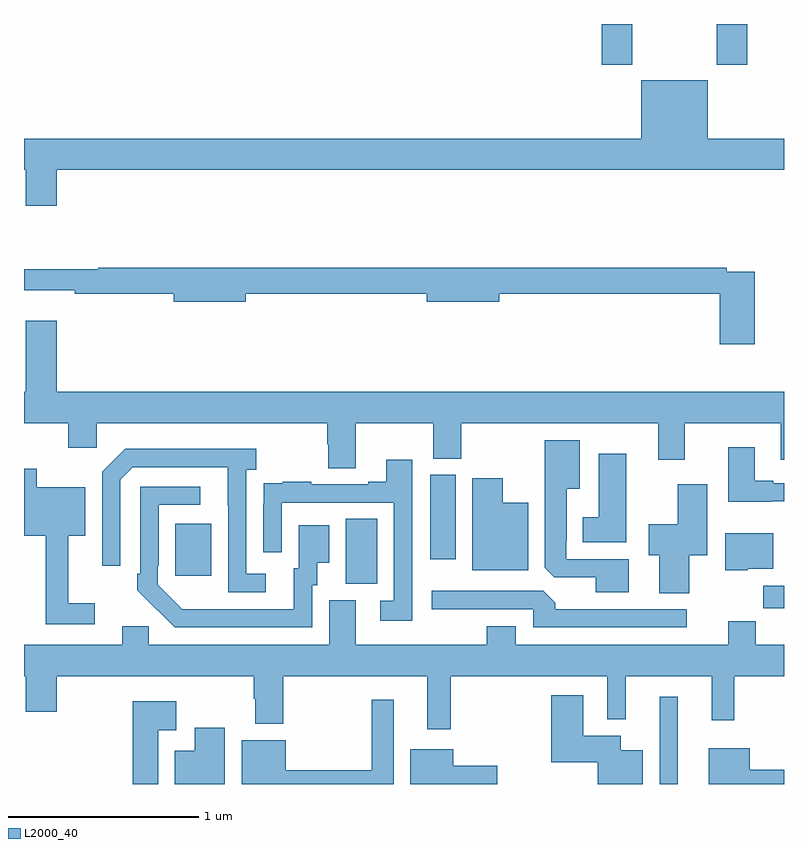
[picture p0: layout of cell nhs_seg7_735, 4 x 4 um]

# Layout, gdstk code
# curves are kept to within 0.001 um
import gdstk
lib = gdstk.Library(unit=1e-6, precision=1e-09)
def R(c, l, rs):  # rectangles x0, y0, x1, y1
    for r in rs: c.add(gdstk.rectangle(r[:2], r[2:], *l))
def P(c, l, *ps):  # polygons
    for p in ps: c.add(gdstk.Polygon(p, *l))
L2000_40 = (2000, 40)

nhs_seg7_735 = lib.new_cell('nhs_seg7_735')
R(nhs_seg7_735, L2000_40, [(168.345,1048,168.442,1048.459), (168.892,1048.926,169,1049.044), (166.694,1049.053,166.858,1049.396), (165.797,1049.097,165.985,1049.371), (167.138,1049.184,167.272,1049.628), (168.041,1051.785,168.201,1052), (168.646,1051.785,168.806,1052)])
P(nhs_seg7_735, L2000_40, [(165.172,1051.232),(169,1051.232),(169,1051.396),(168.598,1051.396),(168.598,1051.705),(168.248,1051.705),(168.248,1051.396),(165,1051.396),(165,1051.232),(165.008,1051.232),(165.008,1051.044),(165.172,1051.044)],
  [(168.845,1050.696),(168.698,1050.696),(168.698,1050.716),(165.392,1050.716),(165.392,1050.709),(165,1050.709),(165,1050.599),(165.268,1050.599),(165.268,1050.58),(165.788,1050.58),(165.788,1050.538),(166.168,1050.538),(166.168,1050.58),(167.12,1050.58),(167.12,1050.538),(167.5,1050.538),(167.5,1050.58),(168.662,1050.58),(168.662,1050.315),(168.845,1050.315)],
  [(166.747,1049.9),(167.153,1049.9),(167.153,1049.713),(167.301,1049.713),(167.301,1049.9),(168.338,1049.9),(168.338,1049.706),(168.478,1049.706),(168.478,1049.9),(168.983,1049.9),(168.983,1049.706),(169,1049.706),(169,1050.064),(165.172,1050.064),(165.172,1050.439),(165.008,1050.439),(165.008,1050.064),(165,1050.064),(165,1049.9),(165.233,1049.9),(165.233,1049.769),(165.384,1049.769),(165.384,1049.9),(166.595,1049.9),(166.595,1049.787),(166.6,1049.787),(166.6,1049.662),(166.747,1049.662)],
  [(168.184,1049.184),(167.853,1049.184),(167.853,1049.281),(167.857,1049.281),(167.857,1049.555),(167.926,1049.555),(167.926,1049.809),(167.741,1049.809),(167.741,1049.137),(167.79,1049.088),(168.008,1049.088),(168.008,1049.009),(168.184,1049.009)],
  [(168.935,1049.487),(169,1049.487),(169,1049.583),(168.943,1049.583),(168.943,1049.596),(168.847,1049.596),(168.847,1049.773),(168.707,1049.773),(168.707,1049.486),(168.935,1049.486)],
  [(166.273,1049.106),(166.17,1049.106),(166.17,1049.654),(166.222,1049.654),(166.222,1049.764),(165.532,1049.764),(165.411,1049.643),(165.411,1049.148),(165.507,1049.148),(165.507,1049.601),(165.573,1049.667),(166.073,1049.667),(166.074,1049.01),(166.273,1049.01)],
  [(168.169,1049.737),(168.026,1049.737),(168.026,1049.404),(167.942,1049.404),(167.942,1049.273),(168.169,1049.273)],
  [(167.043,1049.707),(166.907,1049.707),(166.907,1049.59),(166.811,1049.59),(166.811,1049.577),(166.511,1049.577),(166.511,1049.59),(166.363,1049.59),(166.363,1049.583),(166.261,1049.583),(166.261,1049.474),(166.26,1049.474),(166.26,1049.22),(166.356,1049.22),(166.356,1049.481),(166.947,1049.481),(166.947,1048.965),(166.875,1048.965),(166.875,1048.86),(167.043,1048.86)],
  [(165.373,1048.951),(165.233,1048.951),(165.233,1049.306),(165.322,1049.306),(165.322,1049.563),(165.066,1049.563),(165.066,1049.659),(165,1049.659),(165,1049.306),(165.115,1049.306),(165.115,1048.842),(165.373,1048.842)],
  [(167.653,1049.479),(167.521,1049.479),(167.521,1049.608),(167.36,1049.608),(167.36,1049.126),(167.653,1049.126)],
  [(168.502,1049.204),(168.595,1049.204),(168.595,1049.578),(168.44,1049.578),(168.44,1049.367),(168.288,1049.367),(168.288,1049.204),(168.344,1049.204),(168.344,1049.005),(168.502,1049.005)],
  [(166.518,1049.046),(166.543,1049.046),(166.543,1049.165),(166.606,1049.165),(166.606,1049.362),(166.445,1049.362),(166.445,1049.136),(166.421,1049.136),(166.421,1048.92),(165.834,1048.921),(165.705,1049.049),(165.705,1049.149),(165.708,1049.149),(165.708,1049.469),(165.928,1049.469),(165.928,1049.565),(165.612,1049.565),(165.612,1049.107),(165.597,1049.107),(165.597,1049.019),(165.794,1048.824),(166.518,1048.824)],
  [(168.81,1049.132),(168.943,1049.132),(168.943,1049.32),(168.692,1049.32),(168.692,1049.126),(168.81,1049.126)],
  [(168.487,1048.92),(167.795,1048.92),(167.795,1048.954),(167.733,1049.016),(167.145,1049.016),(167.145,1048.92),(167.679,1048.92),(167.679,1048.824),(168.487,1048.824)],
  [(167.245,1048.568),(168.069,1048.568),(168.069,1048.34),(168.167,1048.34),(168.167,1048.568),(168.62,1048.568),(168.62,1048.335),(168.737,1048.335),(168.737,1048.568),(169,1048.568),(169,1048.732),(168.851,1048.732),(168.851,1048.856),(168.707,1048.856),(168.707,1048.732),(167.587,1048.732),(167.587,1048.831),(167.435,1048.831),(167.435,1048.732),(166.747,1048.732),(166.747,1048.968),(166.607,1048.968),(166.607,1048.732),(165.657,1048.732),(165.657,1048.83),(165.518,1048.83),(165.518,1048.732),(165,1048.732),(165,1048.568),(165.008,1048.568),(165.008,1048.38),(165.172,1048.38),(165.172,1048.568),(166.21,1048.568),(166.21,1048.448),(166.217,1048.448),(166.217,1048.316),(166.365,1048.316),(166.365,1048.568),(167.123,1048.568),(167.123,1048.287),(167.245,1048.287)],
  [(168.256,1048.177),(168.142,1048.177),(168.142,1048.255),(167.944,1048.255),(167.944,1048.468),(167.774,1048.468),(167.774,1048.115),(168.02,1048.115),(168.02,1048),(168.256,1048)],
  [(166.945,1048.444),(166.831,1048.444),(166.831,1048.073),(166.378,1048.073),(166.378,1048.231),(166.145,1048.231),(166.145,1048),(166.945,1048)],
  [(165.706,1048.283),(165.802,1048.283),(165.802,1048.435),(165.572,1048.435),(165.572,1048),(165.706,1048)],
  [(166.057,1048.297),(165.899,1048.297),(165.899,1048.174),(165.794,1048.174),(165.794,1048),(166.057,1048)],
  [(169,1048.076),(168.82,1048.076),(168.82,1048.189),(168.605,1048.189),(168.605,1048),(169,1048)],
  [(167.491,1048.095),(167.26,1048.095),(167.26,1048.183),(167.033,1048.183),(167.033,1048),(167.491,1048)])

lib.write_gds('nhs_seg7_735.gds')
